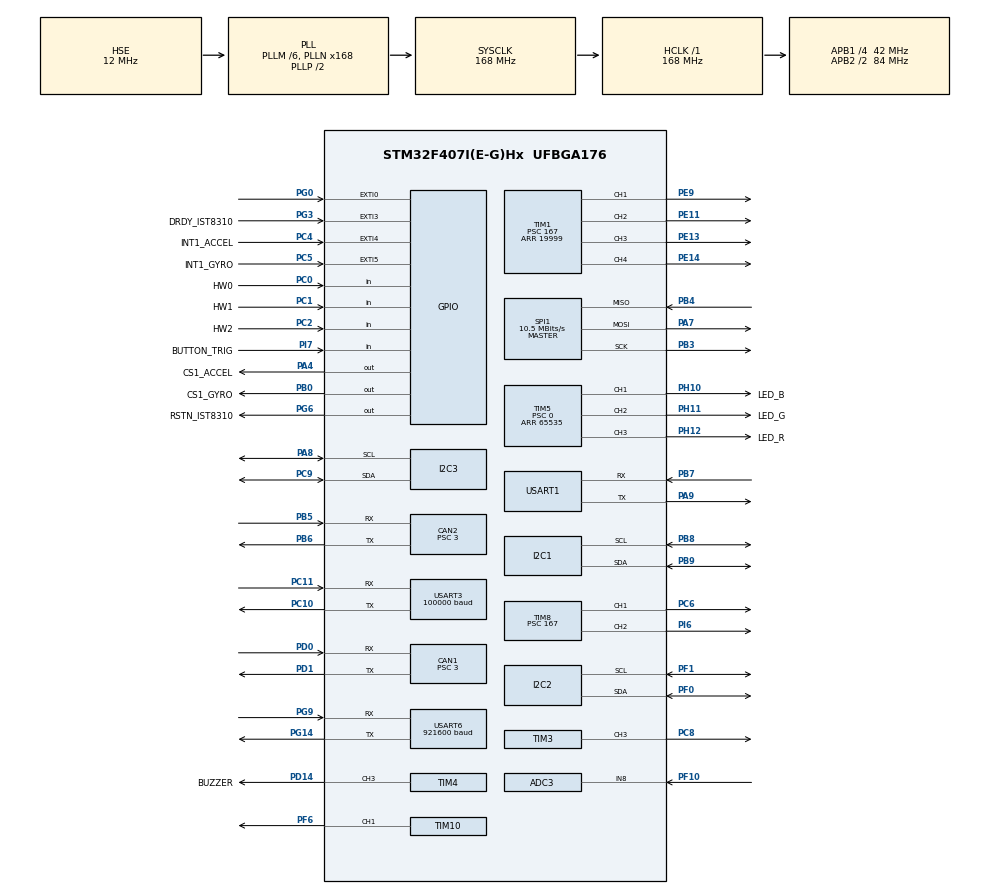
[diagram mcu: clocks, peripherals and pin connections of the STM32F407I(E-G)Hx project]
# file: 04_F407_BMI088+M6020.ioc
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ADC1.Channel-0\#ChannelRegularConversion=ADC_CHANNEL_TEMPSENSOR
ADC1.ClockPrescaler=ADC_CLOCK_SYNC_PCLK_DIV6
ADC1.NbrOfConversionFlag=1
ADC1.Rank-0\#ChannelRegularConversion=1
ADC1.SamplingTime-0\#ChannelRegularConversion=ADC_SAMPLETIME_3CYCLES
ADC1.master=1
ADC3.Channel-0\#ChannelRegularConversion=ADC_CHANNEL_8
ADC3.ClockPrescaler=ADC_CLOCK_SYNC_PCLK_DIV6
ADC3.NbrOfConversionFlag=1
ADC3.Rank-0\#ChannelRegularConversion=1
ADC3.SamplingTime-0\#ChannelRegularConversion=ADC_SAMPLETIME_3CYCLES
CAN1.BS1=CAN_BS1_10TQ
CAN1.BS2=CAN_BS2_3TQ
CAN1.CalculateBaudRate=1000000
CAN1.CalculateTimeQuantum=71.42857142857143
CAN1.Prescaler=3
CAN2.BS1=CAN_BS1_10TQ
CAN2.BS2=CAN_BS2_3TQ
CAN2.CalculateBaudRate=1000000
CAN2.CalculateTimeQuantum=71.42857142857143
CAN2.Prescaler=3
Dma.I2C2_TX.3.Direction=DMA_MEMORY_TO_PERIPH
Dma.I2C2_TX.3.FIFOMode=DMA_FIFOMODE_DISABLE
Dma.I2C2_TX.3.Instance=DMA1_Stream7
Dma.I2C2_TX.3.MemDataAlignment=DMA_MDATAALIGN_BYTE
Dma.I2C2_TX.3.MemInc=DMA_MINC_ENABLE
Dma.I2C2_TX.3.Mode=DMA_NORMAL
Dma.I2C2_TX.3.PeriphDataAlignment=DMA_PDATAALIGN_BYTE
Dma.I2C2_TX.3.PeriphInc=DMA_PINC_DISABLE
Dma.I2C2_TX.3.Priority=DMA_PRIORITY_HIGH
Dma.Request0=SPI1_RX
Dma.Request1=SPI1_TX
Dma.Request2=USART3_RX
Dma.Request3=I2C2_TX
Dma.Request4=USART1_TX
Dma.Request5=USART6_RX
Dma.Request6=USART1_RX
Dma.Request7=USART6_TX
Dma.SPI1_RX.0.Direction=DMA_PERIPH_TO_MEMORY
Dma.SPI1_RX.0.FIFOMode=DMA_FIFOMODE_DISABLE
Dma.SPI1_RX.0.Instance=DMA2_Stream2
Dma.SPI1_RX.0.MemDataAlignment=DMA_MDATAALIGN_BYTE
Dma.SPI1_RX.0.MemInc=DMA_MINC_ENABLE
Dma.SPI1_RX.0.Mode=DMA_NORMAL
Dma.SPI1_RX.0.PeriphDataAlignment=DMA_PDATAALIGN_BYTE
Dma.SPI1_RX.0.PeriphInc=DMA_PINC_DISABLE
Dma.SPI1_RX.0.Priority=DMA_PRIORITY_VERY_HIGH
Dma.SPI1_TX.1.Direction=DMA_MEMORY_TO_PERIPH
Dma.SPI1_TX.1.FIFOMode=DMA_FIFOMODE_DISABLE
Dma.SPI1_TX.1.Instance=DMA2_Stream3
Dma.SPI1_TX.1.MemDataAlignment=DMA_MDATAALIGN_BYTE
Dma.SPI1_TX.1.MemInc=DMA_MINC_ENABLE
Dma.SPI1_TX.1.Mode=DMA_NORMAL
Dma.SPI1_TX.1.PeriphDataAlignment=DMA_PDATAALIGN_BYTE
Dma.SPI1_TX.1.PeriphInc=DMA_PINC_DISABLE
Dma.SPI1_TX.1.Priority=DMA_PRIORITY_HIGH
Dma.USART1_RX.6.Direction=DMA_PERIPH_TO_MEMORY
Dma.USART1_RX.6.FIFOMode=DMA_FIFOMODE_DISABLE
Dma.USART1_RX.6.Instance=DMA2_Stream5
Dma.USART1_RX.6.MemDataAlignment=DMA_MDATAALIGN_BYTE
Dma.USART1_RX.6.MemInc=DMA_MINC_ENABLE
Dma.USART1_RX.6.Mode=DMA_NORMAL
Dma.USART1_RX.6.PeriphDataAlignment=DMA_PDATAALIGN_BYTE
Dma.USART1_RX.6.PeriphInc=DMA_PINC_DISABLE
Dma.USART1_RX.6.Priority=DMA_PRIORITY_LOW
Dma.USART1_TX.4.Direction=DMA_MEMORY_TO_PERIPH
Dma.USART1_TX.4.FIFOMode=DMA_FIFOMODE_DISABLE
Dma.USART1_TX.4.Instance=DMA2_Stream7
Dma.USART1_TX.4.MemDataAlignment=DMA_MDATAALIGN_BYTE
Dma.USART1_TX.4.MemInc=DMA_MINC_ENABLE
Dma.USART1_TX.4.Mode=DMA_NORMAL
Dma.USART1_TX.4.PeriphDataAlignment=DMA_PDATAALIGN_BYTE
Dma.USART1_TX.4.PeriphInc=DMA_PINC_DISABLE
Dma.USART1_TX.4.Priority=DMA_PRIORITY_LOW
Dma.USART3_RX.2.Direction=DMA_PERIPH_TO_MEMORY
Dma.USART3_RX.2.FIFOMode=DMA_FIFOMODE_DISABLE
Dma.USART3_RX.2.Instance=DMA1_Stream1
Dma.USART3_RX.2.MemDataAlignment=DMA_MDATAALIGN_BYTE
Dma.USART3_RX.2.MemInc=DMA_MINC_ENABLE
Dma.USART3_RX.2.Mode=DMA_NORMAL
Dma.USART3_RX.2.PeriphDataAlignment=DMA_PDATAALIGN_BYTE
Dma.USART3_RX.2.PeriphInc=DMA_PINC_DISABLE
Dma.USART3_RX.2.Priority=DMA_PRIORITY_HIGH
Dma.USART6_RX.5.Direction=DMA_PERIPH_TO_MEMORY
Dma.USART6_RX.5.FIFOMode=DMA_FIFOMODE_DISABLE
Dma.USART6_RX.5.Instance=DMA2_Stream1
Dma.USART6_RX.5.MemDataAlignment=DMA_MDATAALIGN_BYTE
Dma.USART6_RX.5.MemInc=DMA_MINC_ENABLE
Dma.USART6_RX.5.Mode=DMA_NORMAL
Dma.USART6_RX.5.PeriphDataAlignment=DMA_PDATAALIGN_BYTE
Dma.USART6_RX.5.PeriphInc=DMA_PINC_DISABLE
Dma.USART6_RX.5.Priority=DMA_PRIORITY_LOW
Dma.USART6_TX.7.Direction=DMA_MEMORY_TO_PERIPH
Dma.USART6_TX.7.FIFOMode=DMA_FIFOMODE_DISABLE
Dma.USART6_TX.7.Instance=DMA2_Stream6
Dma.USART6_TX.7.MemDataAlignment=DMA_MDATAALIGN_BYTE
Dma.USART6_TX.7.MemInc=DMA_MINC_ENABLE
Dma.USART6_TX.7.Mode=DMA_NORMAL
Dma.USART6_TX.7.PeriphDataAlignment=DMA_PDATAALIGN_BYTE
Dma.USART6_TX.7.PeriphInc=DMA_PINC_DISABLE
Dma.USART6_TX.7.Priority=DMA_PRIORITY_LOW
FREERTOS.INCLUDE_eTaskGetState=1
FREERTOS.INCLUDE_pcTaskGetTaskName=1
FREERTOS.INCLUDE_uxTaskGetStackHighWaterMark=1
FREERTOS.INCLUDE_vTaskCleanUpResources=1
FREERTOS.INCLUDE_vTaskDelayUntil=1
FREERTOS.INCLUDE_xEventGroupSetBitFromISR=1
FREERTOS.INCLUDE_xQueueGetMutexHolder=1
FREERTOS.INCLUDE_xSemaphoreGetMutexHolder=1
FREERTOS.INCLUDE_xTaskAbortDelay=1
FREERTOS.INCLUDE_xTaskGetCurrentTaskHandle=1
FREERTOS.INCLUDE_xTaskGetHandle=1
FREERTOS.INCLUDE_xTimerPendFunctionCall=1
FREERTOS.Tasks01=test,-2,128,test_task,Default,NULL,Dynamic,NULL,NULL;imuTask,3,1024,IMU_task,As external,NULL,Dynamic,NULL,NULL;gimbalTask,2,512,gimbal_task,As weak,NULL,Dynamic,NULL,NULL;Remote_rec_task,1,128,remote_rec_task,As external,NULL,Dynamic,NULL,NULL;musicTask,-1,256,music_task,As external,NULL,Dynamic,NULL,NULL;shootTask,1,512,shoot_task,As external,NULL,Dynamic,NULL,NULL
FREERTOS.configTOTAL_HEAP_SIZE=24576
I2C1.I2C_Mode=I2C_Fast
I2C2.I2C_Mode=I2C_Fast
I2C3.I2C_Mode=I2C_Fast
Mcu.Family=STM32F4
Mcu.Name=STM32F407I(E-G)Hx
Mcu.Package=UFBGA176
NVIC.CAN1_RX1_IRQn=true\:5\:0\:false\:false\:true\:true\:true\:true\:true
NVIC.CAN2_RX0_IRQn=true\:6\:0\:true\:false\:true\:true\:true\:true\:true
NVIC.DMA1_Stream1_IRQn=true\:5\:0\:true\:false\:false\:true\:false\:false\:true
NVIC.DMA1_Stream7_IRQn=true\:5\:0\:false\:false\:false\:true\:false\:true\:true
NVIC.DMA2_Stream1_IRQn=true\:5\:0\:false\:false\:true\:true\:false\:true\:true
NVIC.DMA2_Stream2_IRQn=true\:5\:0\:true\:false\:false\:true\:false\:true\:true
NVIC.DMA2_Stream3_IRQn=true\:5\:0\:true\:false\:false\:true\:false\:true\:true
NVIC.DMA2_Stream5_IRQn=true\:5\:0\:false\:false\:true\:true\:false\:true\:true
NVIC.DMA2_Stream6_IRQn=true\:5\:0\:false\:false\:true\:true\:false\:true\:true
NVIC.DMA2_Stream7_IRQn=true\:5\:0\:false\:false\:true\:true\:false\:true\:true
NVIC.EXTI0_IRQn=true\:6\:0\:true\:false\:true\:true\:true\:true\:true
NVIC.EXTI3_IRQn=true\:5\:0\:true\:false\:true\:true\:true\:true\:true
NVIC.EXTI4_IRQn=true\:5\:0\:true\:false\:true\:true\:true\:true\:true
NVIC.EXTI9_5_IRQn=true\:5\:0\:true\:false\:true\:true\:true\:true\:true
NVIC.PriorityGroup=NVIC_PRIORITYGROUP_4
NVIC.TIM2_IRQn=true\:15\:0\:false\:false\:true\:false\:false\:true\:true
NVIC.TIM8_BRK_TIM12_IRQn=true\:5\:0\:false\:false\:true\:true\:true\:true\:true
NVIC.TimeBase=TIM2_IRQn
NVIC.TimeBaseIP=TIM2
NVIC.USART1_IRQn=true\:5\:0\:false\:false\:false\:true\:true\:true\:true
NVIC.USART3_IRQn=true\:4\:0\:true\:false\:false\:false\:true\:true\:true
NVIC.USART6_IRQn=true\:5\:0\:false\:false\:false\:true\:true\:true\:true
PA13.Mode=Serial_Wire
PA13.Signal=SYS_JTMS-SWDIO
PA14.Mode=Serial_Wire
PA14.Signal=SYS_JTCK-SWCLK
PA4.GPIO_Label=CS1_ACCEL
PA4.GPIO_PuPd=GPIO_PULLUP
PA4.GPIO_Speed=GPIO_SPEED_FREQ_HIGH
PA4.PinState=GPIO_PIN_SET
PA4.Signal=GPIO_Output
PA7.GPIO_PuPd=GPIO_PULLUP
PA7.Mode=Full_Duplex_Master
PA7.Signal=SPI1_MOSI
PA8.GPIO_Pu=GPIO_PULLUP
PA8.Mode=I2C
PA8.Signal=I2C3_SCL
PA9.Mode=Asynchronous
PA9.Signal=USART1_TX
PB0.GPIO_Label=CS1_GYRO
PB0.GPIO_PuPd=GPIO_PULLUP
PB0.GPIO_Speed=GPIO_SPEED_FREQ_HIGH
PB0.PinState=GPIO_PIN_SET
PB0.Signal=GPIO_Output
PB3.GPIO_PuPd=GPIO_PULLUP
PB3.Mode=Full_Duplex_Master
PB3.Signal=SPI1_SCK
PB4.GPIO_PuPd=GPIO_PULLUP
PB4.Mode=Full_Duplex_Master
PB4.Signal=SPI1_MISO
PB5.Mode=CAN_Activate
PB5.Signal=CAN2_RX
PB6.Mode=CAN_Activate
PB6.Signal=CAN2_TX
PB7.Mode=Asynchronous
PB7.Signal=USART1_RX
PB8.Mode=I2C
PB8.Signal=I2C1_SCL
PB9.Mode=I2C
PB9.Signal=I2C1_SDA
PC0.GPIO_Label=HW0
PC0.Signal=GPIO_Input
PC1.GPIO_Label=HW1
PC1.Signal=GPIO_Input
PC10.Mode=Asynchronous
PC10.Signal=USART3_TX
PC11.Mode=Asynchronous
PC11.Signal=USART3_RX
PC2.GPIO_Label=HW2
PC2.Signal=GPIO_Input
PC4.GPIO_Label=INT1_ACCEL
PC4.GPIO_ModeDefaultEXTI=GPIO_MODE_IT_FALLING
PC4.GPIO_PuPd=GPIO_PULLUP
PC4.Signal=GPXTI4
PC5.GPIO_Label=INT1_GYRO
PC5.GPIO_ModeDefaultEXTI=GPIO_MODE_IT_FALLING
PC5.GPIO_PuPd=GPIO_PULLUP
PC5.Signal=GPXTI5
PC6.GPIO_PuPd=GPIO_PULLUP
PC6.GPIO_Speed=GPIO_SPEED_FREQ_HIGH
PC6.Signal=S_TIM8_CH1
PC8.GPIO_PuPd=GPIO_PULLUP
PC8.GPIO_Speed=GPIO_SPEED_FREQ_HIGH
PC8.Signal=S_TIM3_CH3
PC9.GPIO_Pu=GPIO_PULLUP
PC9.Mode=I2C
PC9.Signal=I2C3_SDA
PD0.Mode=CAN_Activate
PD0.Signal=CAN1_RX
PD1.Mode=CAN_Activate
PD1.Signal=CAN1_TX
PD14.GPIO_Label=BUZZER
PD14.GPIO_PuPd=GPIO_PULLUP
PD14.GPIO_Speed=GPIO_SPEED_FREQ_VERY_HIGH
PD14.Signal=S_TIM4_CH3
PE11.GPIO_PuPd=GPIO_PULLUP
PE11.GPIO_Speed=GPIO_SPEED_FREQ_HIGH
PE11.Signal=S_TIM1_CH2
PE13.GPIO_PuPd=GPIO_PULLUP
PE13.GPIO_Speed=GPIO_SPEED_FREQ_HIGH
PE13.Signal=S_TIM1_CH3
PE14.GPIO_PuPd=GPIO_PULLUP
PE14.GPIO_Speed=GPIO_SPEED_FREQ_HIGH
PE14.Signal=S_TIM1_CH4
PE9.GPIO_PuPd=GPIO_PULLUP
PE9.GPIO_Speed=GPIO_SPEED_FREQ_HIGH
PE9.Signal=S_TIM1_CH1
PF0.Mode=I2C
PF0.Signal=I2C2_SDA
PF1.Mode=I2C
PF1.Signal=I2C2_SCL
PF10.Mode=IN8
PF10.Signal=ADC3_IN8
PF6.GPIO_PuPd=GPIO_PULLUP
PF6.GPIO_Speed=GPIO_SPEED_FREQ_HIGH
PF6.Signal=S_TIM10_CH1
PG0.GPIO_ModeDefaultEXTI=GPIO_MODE_IT_FALLING
PG0.GPIO_PuPd=GPIO_PULLUP
PG0.Signal=GPXTI0
PG14.Mode=Asynchronous
PG14.Signal=USART6_TX
PG3.GPIO_Label=DRDY_IST8310
PG3.GPIO_ModeDefaultEXTI=GPIO_MODE_IT_FALLING
PG3.GPIO_PuPd=GPIO_PULLUP
PG3.Signal=GPXTI3
PG6.GPIO_Label=RSTN_IST8310
PG6.GPIO_PuPd=GPIO_PULLUP
PG6.GPIO_Speed=GPIO_SPEED_FREQ_MEDIUM
PG6.PinState=GPIO_PIN_SET
PG6.Signal=GPIO_Output
PG9.Mode=Asynchronous
PG9.Signal=USART6_RX
PH0-OSC_IN.Mode=HSE-External-Oscillator
PH0-OSC_IN.Signal=RCC_OSC_IN
PH1-OSC_OUT.Mode=HSE-External-Oscillator
PH1-OSC_OUT.Signal=RCC_OSC_OUT
PH10.GPIO_Label=LED_B
PH10.GPIO_PuPd=GPIO_PULLUP
PH10.GPIO_Speed=GPIO_SPEED_FREQ_HIGH
PH10.Signal=S_TIM5_CH1
PH11.GPIO_Label=LED_G
PH11.GPIO_PuPd=GPIO_PULLUP
PH11.GPIO_Speed=GPIO_SPEED_FREQ_HIGH
PH11.Signal=S_TIM5_CH2
PH12.GPIO_Label=LED_R
PH12.GPIO_PuPd=GPIO_PULLUP
PH12.GPIO_Speed=GPIO_SPEED_FREQ_HIGH
PH12.Signal=S_TIM5_CH3
PI6.GPIO_PuPd=GPIO_PULLUP
PI6.GPIO_Speed=GPIO_SPEED_FREQ_HIGH
PI6.Signal=S_TIM8_CH2
PI7.GPIO_Label=BUTTON_TRIG
PI7.GPIO_PuPd=GPIO_PULLUP
PI7.Signal=GPIO_Input
ProjectManager.HeapSize=0x2000
ProjectManager.StackSize=0x2000
ProjectManager.TargetToolchain=MDK-ARM V5
RCC.48MHZClocksFreq_Value=48000000
RCC.AHBFreq_Value=168000000
RCC.APB1CLKDivider=RCC_HCLK_DIV4
RCC.APB1Freq_Value=42000000
RCC.APB1TimFreq_Value=84000000
RCC.APB2CLKDivider=RCC_HCLK_DIV2
RCC.APB2Freq_Value=84000000
RCC.APB2TimFreq_Value=168000000
RCC.CortexFreq_Value=168000000
RCC.HCLKFreq_Value=168000000
RCC.HSE_VALUE=12000000
RCC.HSI_VALUE=16000000
RCC.LSE_VALUE=32768
RCC.PLLM=6
RCC.PLLN=168
RCC.PLLQ=7
RCC.PLLSourceVirtual=RCC_PLLSOURCE_HSE
RCC.RCC_RTC_Clock_SourceVirtual=RCC_RTCCLKSOURCE_HSE_DIV30
RCC.RCC_RTC_Clock_Source_FROM_HSE=RCC_RTCCLKSOURCE_HSE_DIV30
RCC.SYSCLKFreq_VALUE=168000000
RCC.SYSCLKSource=RCC_SYSCLKSOURCE_PLLCLK
RCC.VCOOutputFreq_Value=336000000
RTC.AsynchPrediv=124
RTC.SynchPrediv=3199
SH.S_TIM10_CH1.0=TIM10_CH1,PWM Generation1 CH1
SH.S_TIM1_CH1.0=TIM1_CH1,PWM Generation1 CH1
SH.S_TIM1_CH2.0=TIM1_CH2,PWM Generation2 CH2
SH.S_TIM1_CH3.0=TIM1_CH3,PWM Generation3 CH3
SH.S_TIM1_CH4.0=TIM1_CH4,PWM Generation4 CH4
SH.S_TIM3_CH3.0=TIM3_CH3,PWM Generation3 CH3
SH.S_TIM4_CH3.0=TIM4_CH3,PWM Generation3 CH3
SH.S_TIM5_CH1.0=TIM5_CH1,PWM Generation1 CH1
SH.S_TIM5_CH2.0=TIM5_CH2,PWM Generation2 CH2
SH.S_TIM5_CH3.0=TIM5_CH3,PWM Generation3 CH3
SH.S_TIM8_CH1.0=TIM8_CH1,PWM Generation1 CH1
SH.S_TIM8_CH2.0=TIM8_CH2,PWM Generation2 CH2
SPI1.BaudRatePrescaler=SPI_BAUDRATEPRESCALER_8
SPI1.CLKPhase=SPI_PHASE_2EDGE
SPI1.CLKPolarity=SPI_POLARITY_HIGH
SPI1.CalculateBaudRate=10.5 MBits/s
SPI1.Direction=SPI_DIRECTION_2LINES
SPI1.Mode=SPI_MODE_MASTER
SPI1.VirtualType=VM_MASTER
TIM1.Channel-PWM\ Generation1\ CH1=TIM_CHANNEL_1
TIM1.Channel-PWM\ Generation2\ CH2=TIM_CHANNEL_2
TIM1.Channel-PWM\ Generation3\ CH3=TIM_CHANNEL_3
TIM1.Channel-PWM\ Generation4\ CH4=TIM_CHANNEL_4
TIM1.Period=19999
TIM1.Prescaler=167
TIM1.Pulse-PWM\ Generation1\ CH1=1000
TIM1.Pulse-PWM\ Generation2\ CH2=1000
TIM1.Pulse-PWM\ Generation3\ CH3=1000
TIM1.Pulse-PWM\ Generation4\ CH4=1000
TIM10.Channel=TIM_CHANNEL_1
TIM10.Period=4999
TIM3.Channel-PWM\ Generation3\ CH3=TIM_CHANNEL_3
TIM3.Period=8399
TIM4.Channel-PWM\ Generation3\ CH3=TIM_CHANNEL_3
TIM4.Period=65535
TIM4.Prescaler=167
TIM4.Pulse-PWM\ Generation3\ CH3=0
TIM5.Channel-PWM\ Generation1\ CH1=TIM_CHANNEL_1
TIM5.Channel-PWM\ Generation2\ CH2=TIM_CHANNEL_2
TIM5.Channel-PWM\ Generation3\ CH3=TIM_CHANNEL_3
TIM5.Period=65535
TIM5.Prescaler=0
TIM8.Channel-PWM\ Generation1\ CH1=TIM_CHANNEL_1
TIM8.Channel-PWM\ Generation2\ CH2=TIM_CHANNEL_2
TIM8.Period=19999
TIM8.Prescaler=167
TIM8.Pulse-PWM\ Generation1\ CH1=1000
TIM8.Pulse-PWM\ Generation2\ CH2=1000
USART1.VirtualMode=VM_ASYNC
USART3.BaudRate=100000
USART3.Parity=PARITY_EVEN
USART3.VirtualMode=VM_ASYNC
USART6.BaudRate=921600
USART6.VirtualMode=VM_ASYNC
VP_ADC1_TempSens_Input.Mode=IN-TempSens
VP_ADC1_Vref_Input.Mode=IN-Vrefint
VP_FREERTOS_VS_CMSIS_V1.Mode=CMSIS_V1
VP_RTC_VS_RTC_Activate.Mode=RTC_Enabled
VP_SYS_VS_tim2.Mode=TIM2
VP_TIM10_VS_ClockSourceINT.Mode=Enable_Timer
VP_TIM1_VS_ClockSourceINT.Mode=Internal
VP_TIM3_VS_ClockSourceINT.Mode=Internal
VP_TIM4_VS_ClockSourceINT.Mode=Internal
VP_TIM5_VS_ClockSourceINT.Mode=Internal
VP_TIM8_VS_ClockSourceINT.Mode=Internal
board=custom

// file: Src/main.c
/* USER CODE BEGIN Header */
/**
  ******************************************************************************
  * @file           : main.c
  * @brief          : Main program body
  ******************************************************************************
  * @attention
  *
  * Copyright (c) 2024 STMicroelectronics.
  * All rights reserved.
  *
  * This software is licensed under terms that can be found in the LICENSE file
  * in the root directory of this software component.
  * If no LICENSE file comes with this software, it is provided AS-IS.
  *
  ******************************************************************************
  */
/* USER CODE END Header */
#include "main.h"
#include "cmsis_os.h"
#include "adc.h"
#include "can.h"
#include "dma.h"
#include "i2c.h"
#include "rtc.h"
#include "spi.h"
#include "tim.h"
#include "usart.h"
#include "gpio.h"

/* USER CODE BEGIN Includes */
#include "bsp_can.h"
#include "bsp_delay.h"
#include "remote_control.h"

#include "gimbal_task.h"
#include "IMU_task.h"
#include "gimbal_behaviour.h"
#include "stdio.h"
#include "math.h"
#include "Remote_rec_task.h"
#include "bsp_dwt.h"
#include "controller.h"
#include "AutoGimbal.h"
/* USER CODE END Includes */

void SystemClock_Config(void);
void MX_FREERTOS_Init(void);

int main(void)
{

  /* MCU Configuration--------------------------------------------------------*/

  /* Reset of all peripherals, Initializes the Flash interface and the Systick. */
  HAL_Init();

  /* Configure the system clock */
  SystemClock_Config();

  /* Initialize all configured peripherals */
  MX_GPIO_Init();
  MX_DMA_Init();
  MX_CAN1_Init();
  MX_CAN2_Init();
  MX_SPI1_Init();
  MX_TIM4_Init();
  MX_TIM5_Init();
  MX_USART3_UART_Init();
  MX_TIM8_Init();
  MX_I2C3_Init();
  MX_RTC_Init();
  MX_TIM1_Init();
  MX_TIM3_Init();
  MX_TIM10_Init();
  MX_USART1_UART_Init();
  MX_USART6_UART_Init();
  MX_I2C1_Init();
  MX_I2C2_Init();
  MX_ADC1_Init();
  MX_ADC3_Init();
  /* USER CODE BEGIN 2 */
  can_filter_init();
	delay_init();
	remote_control_init();
	AUTO_control_init();//�����ʼ��

  /* USER CODE END 2 */

  /* Call init function for freertos objects (in cmsis_os2.c) */
  MX_FREERTOS_Init();

  /* Start scheduler */
  osKernelStart();

  /* We should never get here as control is now taken by the scheduler */

  /* Infinite loop */
  while (1)
  {

  }
}

void SystemClock_Config(void)
{
  RCC_OscInitTypeDef RCC_OscInitStruct = {0};
  RCC_ClkInitTypeDef RCC_ClkInitStruct = {0};

  /** Configure the main internal regulator output voltage
  */
  __HAL_RCC_PWR_CLK_ENABLE();
  __HAL_PWR_VOLTAGESCALING_CONFIG(PWR_REGULATOR_VOLTAGE_SCALE1);

  /** Initializes the RCC Oscillators according to the specified parameters
  * in the RCC_OscInitTypeDef structure.
  */
  RCC_OscInitStruct.OscillatorType = RCC_OSCILLATORTYPE_HSE;
  RCC_OscInitStruct.HSEState = RCC_HSE_ON;
  RCC_OscInitStruct.PLL.PLLState = RCC_PLL_ON;
  RCC_OscInitStruct.PLL.PLLSource = RCC_PLLSOURCE_HSE;
  RCC_OscInitStruct.PLL.PLLM = 6;
  RCC_OscInitStruct.PLL.PLLN = 168;
  RCC_OscInitStruct.PLL.PLLP = RCC_PLLP_DIV2;
  RCC_OscInitStruct.PLL.PLLQ = 7;
  if (HAL_RCC_OscConfig(&RCC_OscInitStruct) != HAL_OK)
  {
    Error_Handler();
  }

  /** Initializes the CPU, AHB and APB buses clocks
  */
  RCC_ClkInitStruct.ClockType = RCC_CLOCKTYPE_HCLK|RCC_CLOCKTYPE_SYSCLK
                              |RCC_CLOCKTYPE_PCLK1|RCC_CLOCKTYPE_PCLK2;
  RCC_ClkInitStruct.SYSCLKSource = RCC_SYSCLKSOURCE_PLLCLK;
  RCC_ClkInitStruct.AHBCLKDivider = RCC_SYSCLK_DIV1;
  RCC_ClkInitStruct.APB1CLKDivider = RCC_HCLK_DIV4;
  RCC_ClkInitStruct.APB2CLKDivider = RCC_HCLK_DIV2;

  if (HAL_RCC_ClockConfig(&RCC_ClkInitStruct, FLASH_LATENCY_5) != HAL_OK)
  {
    Error_Handler();
  }
}

void HAL_TIM_PeriodElapsedCallback(TIM_HandleTypeDef *htim)
{
  if (htim->Instance == TIM2)
  {
    HAL_IncTick();
  }
}

void Error_Handler(void)
{
  __disable_irq();
  while (1)
  {
  }
}
